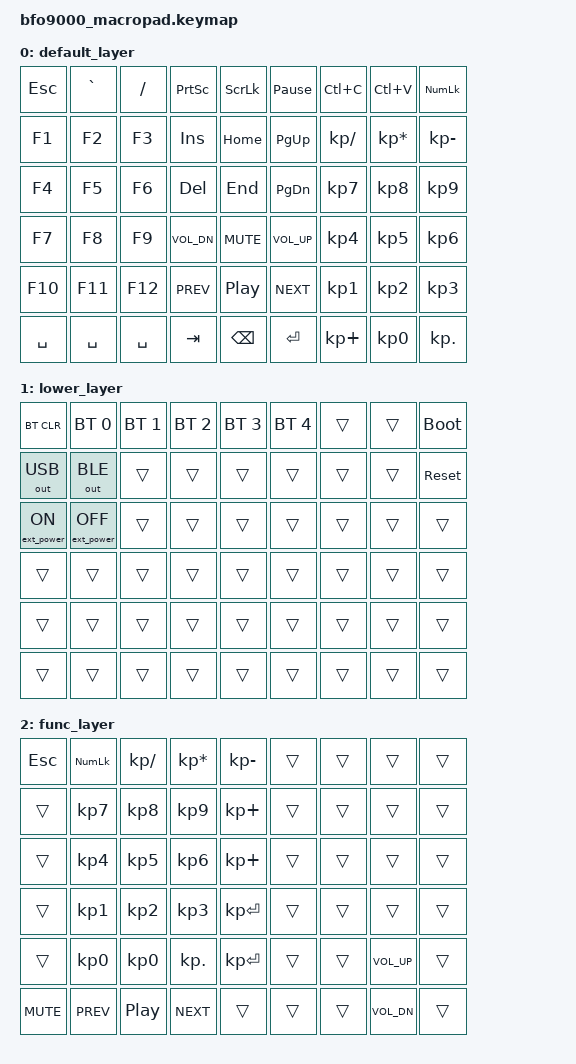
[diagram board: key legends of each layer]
/*
 * Copyright (c) 2020 The ZMK Contributors
 *
 * SPDX-License-Identifier: MIT
 */

#include <behaviors.dtsi>
#include <dt-bindings/zmk/keys.h>
#include <dt-bindings/zmk/bt.h>
#include <dt-bindings/zmk/outputs.h>
#include <dt-bindings/zmk/ext_power.h>

#define DEFAULT 0
#define LOWER   1
#define FUNC    2

/ {
    keymap {
        compatible = "zmk,keymap";

        default_layer {
            // BFO-9000 Right Half as Macro Pad (9 columns x 6 rows = 54 keys)
            bindings = <
                &kp ESC   &kp GRAVE &kp SLASH &kp PSCRN &kp SLCK  &kp PAUSE_BREAK &kp LC(C) &kp LC(V) &kp KP_NUM
                &kp F1    &kp F2    &kp F3    &kp INS   &kp HOME  &kp PG_UP &kp KP_DIVIDE &kp KP_MULTIPLY &kp KP_SUBTRACT
                &kp F4    &kp F5    &kp F6    &kp DEL   &kp END   &kp PG_DN &kp KP_N7 &kp KP_N8 &kp KP_N9
                &kp F7    &kp F8    &kp F9    &kp C_VOL_DN &kp C_MUTE &kp C_VOL_UP  &kp KP_N4 &kp KP_N5 &kp KP_N6
                &kp F10   &kp F11   &kp F12   &kp C_PREV &kp C_PP &kp C_NEXT &kp KP_N1 &kp KP_N2 &kp KP_N3
                &kp SPACE &kp SPACE &kp SPACE &kp TAB &kp BSPC &kp ENTER &kp KP_PLUS &kp KP_N0 &kp KP_DOT
            >;
        };

        lower_layer {
            // Lower Layer - Bluetooth & System Controls
            // -------------------------------------------------------------------------
            // | BT_CLR | BT 0  | BT 1  | BT 2  | BT 3  | BT 4  |       |       |Bootldr|
            // | USB    | BLE   |       |       |       |       |       |       | Reset |
            // | EP_ON  | EP_OFF|       |       |       |       |       |       |       |
            // |        |       |       |       |       |       |       |       |       |
            // |        |       |       |       |       |       |       |       |       |
            // |        |       |       |       |       |       |       |       |       |
            bindings = <
                &bt BT_CLR   &bt BT_SEL 0 &bt BT_SEL 1 &bt BT_SEL 2 &bt BT_SEL 3 &bt BT_SEL 4 &trans &trans &bootloader
                &out OUT_USB &out OUT_BLE &trans       &trans       &trans       &trans       &trans &trans &sys_reset
                &ext_power EP_ON &ext_power EP_OFF &trans &trans   &trans       &trans       &trans &trans &trans
                &trans       &trans       &trans       &trans       &trans       &trans       &trans &trans &trans
                &trans       &trans       &trans       &trans       &trans       &trans       &trans &trans &trans
                &trans       &trans       &trans       &trans       &trans       &trans       &trans &trans &trans
            >;
        };

        func_layer {
            // Function Layer - Numpad & Media
            // -------------------------------------------------------------------------
            // | Esc   | NumLk | /     | *     | -     |       |       |       |       |
            // |       | 7     | 8     | 9     | +     |       |       |       |       |
            // |       | 4     | 5     | 6     | +     |       |       |       |       |
            // |       | 1     | 2     | 3     | Enter |       |       |       |       |
            // |       | 0     | 0     | .     | Enter |       |       | VolUp |       |
            // | Mute  | Prev  | Play  | Next  |       |       |       | VolDn |       |
            bindings = <
                &kp ESC   &kp KP_NUM   &kp KP_SLASH &kp KP_MULTIPLY &kp KP_MINUS &trans &trans &trans &trans
                &trans    &kp KP_N7    &kp KP_N8    &kp KP_N9       &kp KP_PLUS  &trans &trans &trans &trans
                &trans    &kp KP_N4    &kp KP_N5    &kp KP_N6       &kp KP_PLUS  &trans &trans &trans &trans
                &trans    &kp KP_N1    &kp KP_N2    &kp KP_N3       &kp KP_ENTER &trans &trans &trans &trans
                &trans    &kp KP_N0    &kp KP_N0    &kp KP_DOT      &kp KP_ENTER &trans &trans &kp C_VOL_UP &trans
                &kp C_MUTE &kp C_PREV  &kp C_PP     &kp C_NEXT      &trans       &trans &trans &kp C_VOL_DN &trans
            >;
        };
    };
};
